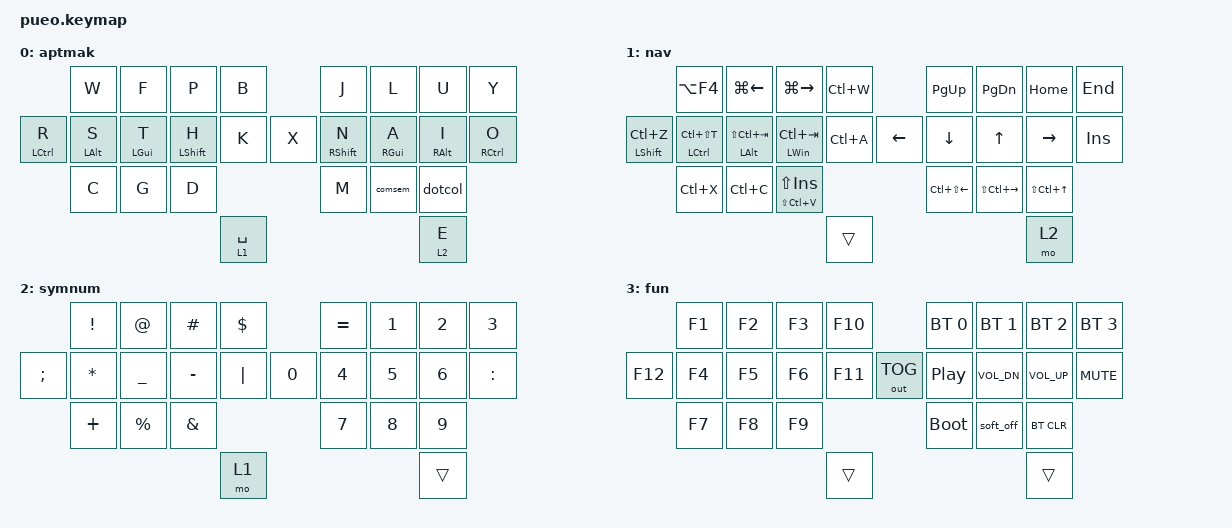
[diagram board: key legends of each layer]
/*
 * Copyright (c) 2024 The ZMK Contributors
 *
 * SPDX-License-Identifier: MIT
 */

#include <behaviors.dtsi>
#include <dt-bindings/zmk/bt.h>
#include <dt-bindings/zmk/keys.h>
#include <dt-bindings/zmk/outputs.h>

&lt { quick-tap-ms = <200>; };

&soft_off { hold-time-ms = <5000>; };

/ {
    chosen {
        zmk,kscan = &kscan_facedown;
    };
};

/ {
    combos {
        compatible = "zmk,combos";

        qu {
            timeout-ms = <40>;
            key-positions = <2 1>;
            bindings = <&qu>;
            layers = <0>;
        };

        z {
            timeout-ms = <40>;
            key-positions = <19 18>;
            bindings = <&kp Z>;
            layers = <0>;
        };

        v {
            timeout-ms = <40>;
            key-positions = <1 0>;
            bindings = <&kp V>;
            layers = <0>;
        };

        q {
            timeout-ms = <40>;
            key-positions = <20 19>;
            bindings = <&kp Q>;
            layers = <0>;
        };

        lbrc {
            timeout-ms = <40>;
            key-positions = <0 9>;
            bindings = <&kp LBRC>;
            layers = <0 2>;
        };

        lbkt {
            timeout-ms = <40>;
            key-positions = <10 1>;
            bindings = <&kp LBKT>;
            layers = <0 2>;
        };

        lpar {
            timeout-ms = <40>;
            key-positions = <2 11>;
            bindings = <&kp LPAR>;
            layers = <0 2>;
        };

        lt {
            timeout-ms = <40>;
            key-positions = <3 12>;
            bindings = <&kp LT>;
            layers = <0 2>;
        };

        rbrc {
            timeout-ms = <40>;
            key-positions = <7 16>;
            bindings = <&kp RBRC>;
            layers = <0 2>;
        };

        rbkt {
            timeout-ms = <40>;
            key-positions = <6 15>;
            bindings = <&kp RBKT>;
            layers = <0 2>;
        };

        rpar {
            timeout-ms = <40>;
            key-positions = <5 14>;
            bindings = <&kp RPAR>;
            layers = <0 2>;
        };

        gt {
            timeout-ms = <40>;
            key-positions = <4 13>;
            bindings = <&kp GT>;
            layers = <0 2>;
        };

        capsword {
            timeout-ms = <40>;
            key-positions = <14 11>;
            bindings = <&caps_word>;
        };

        bspc {
            timeout-ms = <40>;
            key-positions = <16 14>;
            bindings = <&kp BSPC>;
        };

        del {
            timeout-ms = <40>;
            key-positions = <11 10 9>;
            bindings = <&kp DEL>;
        };

        fwslash {
            bindings = <&kp SLASH>;
            key-positions = <22 23>;
            timeout-ms = <40>;
            layers = <0>;
        };

        bkslash {
            bindings = <&kp BACKSLASH>;
            key-positions = <22 21>;
            timeout-ms = <40>;
            layers = <0>;
        };

        apos {
            bindings = <&kp APOS>;
            key-positions = <6 7>;
            timeout-ms = <40>;
            layers = <0>;
        };

        grave {
            bindings = <&kp GRAVE>;
            key-positions = <6 5>;
            timeout-ms = <40>;
            layers = <0>;
        };

        enter {
            bindings = <&kp ENTER>;
            key-positions = <14 16 15>;
        };

        tab {
            bindings = <&kp TAB>;
            key-positions = <9 11>;
        };

        softoff {
            bindings = <&soft_off>;
            key-positions = <21 22 23>;
        };

        boot {
            bindings = <&bootloader>;
            key-positions = <20 19 18>;
        };

        lshift {
            bindings = <&sk LEFT_SHIFT>;
            key-positions = <10 9>;
        };

        rshift {
            bindings = <&sk RIGHT_SHIFT>;
            key-positions = <15 16>;
        };

        esc {
            bindings = <&kp ESCAPE>;
            key-positions = <0 2>;
        };

        prtsc {
            bindings = <&kp PRINTSCREEN>;
            key-positions = <5 7>;
            require-prior-idle-ms = <100>;
            timeout-ms = <40>;
        };

        caps {
            bindings = <&kp CAPSLOCK>;
            key-positions = <7 0>;
        };
    };

    behaviors {
        hl: homerow_mods_left {
            compatible = "zmk,behavior-hold-tap";
            label = "homerow mods left";
            #binding-cells = <2>;
            flavor = "tap-preferred";
            tapping-term-ms = <200>;
            quick-tap-ms = <100>;

            // global-quick-tap;

            bindings = <&kp>, <&kp>;
        };

        hr: homerow_mods_right {
            compatible = "zmk,behavior-hold-tap";
            label = "homerow mods right";
            #binding-cells = <2>;
            flavor = "tap-preferred";
            tapping-term-ms = <200>;
            quick-tap-ms = <100>;

            // global-quick-tap;

            bindings = <&kp>, <&kp>;
        };

        dotcol: dot_colon {
            compatible = "zmk,behavior-mod-morph";
            label = "DOT_COL";
            #binding-cells = <0>;
            bindings = <&kp DOT>, <&kp COLON>;

            mods = <(MOD_LSFT|MOD_RSFT)>;
        };

        comsem: comma_semicolon {
            compatible = "zmk,behavior-mod-morph";
            label = "COM_SEM";
            #binding-cells = <0>;
            bindings = <&kp COMMA>, <&kp SEMI>;

            mods = <(MOD_LSFT|MOD_RSFT)>;
        };
    };

    macros {
        qu: qu {
            compatible = "zmk,behavior-macro";
            #binding-cells = <0>;
            bindings = <&kp Q &kp U>;
            label = "QU";
        };
    };

    keymap {
        compatible = "zmk,keymap";

        aptmak {
            bindings = <
                  &kp W               &kp F           &kp P           &kp B        &kp J         &kp L                     &kp U            &kp Y
&hl LEFT_CONTROL R  &hl LEFT_ALT S  &hl LEFT_GUI T  &hl LEFT_SHIFT H  &kp K        &kp X         &hr RIGHT_SHIFT N           &hr RIGHT_GUI A  &hr RIGHT_ALT I  &hr RIGHT_CONTROL O
                  &kp C               &kp G           &kp D                               &kp M  &comsem          &dotcol
                                                                      &lt 1 SPACE                                          &lt 2 E
            >;
        };

        nav {
            bindings = <
                      &kp LA(F4)                  &kp LG(LEFT)              &kp LG(RIGHT)             &kp LC(W)  &kp PAGE_UP                      &kp PAGE_DOWN                                  &kp HOME    &kp END
&mt LEFT_SHIFT LC(Z)  &mt LEFT_CONTROL LC(LS(T))  &mt LEFT_ALT LS(LC(TAB))  &mt LEFT_WIN LC(TAB)      &kp LC(A)  &kp LEFT                    &kp DOWN                                 &kp UP  &kp RIGHT  &kp INSERT
                      &kp LC(X)                   &kp LC(C)                 &mt LS(LC(V)) LS(INSERT)                            &kp LC(LS(LEFT))  &kp LS(LC(RIGHT))  &kp LS(LC(UP_ARROW))
                                                                                                      &trans                                                                               &mo 2
            >;
        };

        symnum {
            bindings = <
          &kp EXCL  &kp AT_SIGN  &kp POUND  &kp DOLLAR  &kp EQUAL          &kp N1          &kp N2  &kp N3
&kp SEMI  &kp STAR  &kp UNDER    &kp MINUS  &kp PIPE    &kp N0             &kp N4          &kp N5  &kp N6  &kp COLON
          &kp PLUS  &kp PERCENT  &kp AMPS                          &kp N7  &kp N8  &kp N9
                                            &mo 1                                          &trans
            >;
        };

        fun {
            bindings = <
         &kp F1  &kp F2  &kp F3  &kp F10  &bt BT_SEL 0             &bt BT_SEL 1              &bt BT_SEL 2  &bt BT_SEL 3
&kp F12  &kp F4   &kp F5  &kp F6  &kp F11  &out OUT_TOG             &kp C_PP                  &kp C_VOL_DN  &kp C_VOL_UP  &kp C_MUTE
         &kp F7   &kp F8  &kp F9                         &bootloader  &soft_off   &bt BT_CLR
                                  &trans                                                      &trans
            >;
        };
    };

    conditional_layers {
        compatible = "zmk,conditional-layers";

        fun {
            if-layers = <2 1>;
            then-layer = <3>;
        };
    };
};
